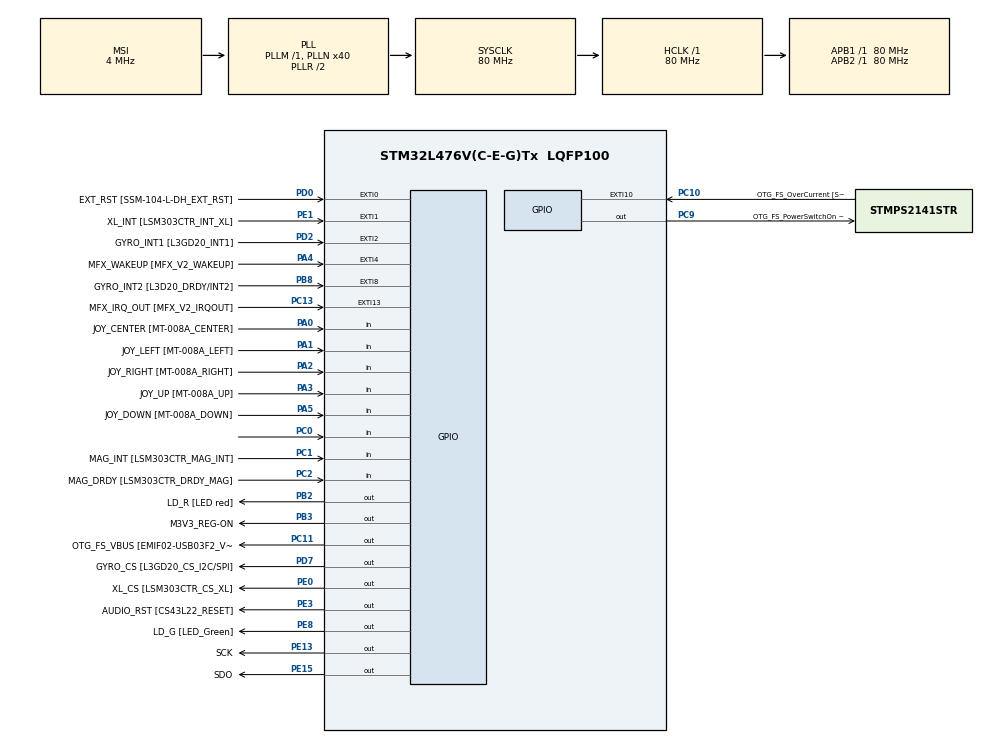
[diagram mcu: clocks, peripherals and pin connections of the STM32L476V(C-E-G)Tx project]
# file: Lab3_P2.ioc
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Mcu.Family=STM32L4
Mcu.Name=STM32L476V(C-E-G)Tx
Mcu.Package=LQFP100
NVIC.PriorityGroup=NVIC_PRIORITYGROUP_4
PA0.GPIO_Label=JOY_CENTER [MT-008A_CENTER]
PA0.GPIO_Mode=GPIO_MODE_INPUT
PA0.GPIO_PuPd=GPIO_PULLDOWN
PA0.Signal=GPIO_Input
PA1.GPIO_Label=JOY_LEFT [MT-008A_LEFT]
PA1.GPIO_Mode=GPIO_MODE_INPUT
PA1.GPIO_PuPd=GPIO_PULLDOWN
PA1.Signal=GPIO_Input
PA10.GPIO_Label=COM2 [GH08172T_COM2]
PA10.GPIO_Mode=GPIO_MODE_AF_PP
PA10.GPIO_PuPd=GPIO_NOPULL
PA10.GPIO_Speed=GPIO_SPEED_FREQ_LOW
PA10.Signal=LCD_COM2
PA11.GPIO_Label=OTG_FS_DM [EMIF02-USB03F2_D-out]
PA11.GPIO_Mode=GPIO_MODE_AF_PP
PA11.GPIO_PuPd=GPIO_NOPULL
PA11.GPIO_Speed=GPIO_SPEED_FREQ_VERY_HIGH
PA11.Signal=USB_OTG_FS_DM
PA12.GPIO_Label=OTG_FS_DP [EMIF02-USB03F2_D+out]
PA12.GPIO_Mode=GPIO_MODE_AF_PP
PA12.GPIO_PuPd=GPIO_NOPULL
PA12.GPIO_Speed=GPIO_SPEED_FREQ_VERY_HIGH
PA12.Signal=USB_OTG_FS_DP
PA13\ (JTMS-SWDIO).GPIO_Label=SWDIO
PA13\ (JTMS-SWDIO).Mode=Serial_Wire
PA13\ (JTMS-SWDIO).Signal=SYS_JTMS-SWDIO
PA14\ (JTCK-SWCLK).GPIO_Label=SWCLK
PA14\ (JTCK-SWCLK).Mode=Serial_Wire
PA14\ (JTCK-SWCLK).Signal=SYS_JTCK-SWCLK
PA15\ (JTDI).GPIO_Label=SEG10 [GH08172T_SEG10]
PA15\ (JTDI).GPIO_Mode=GPIO_MODE_AF_PP
PA15\ (JTDI).GPIO_PuPd=GPIO_NOPULL
PA15\ (JTDI).GPIO_Speed=GPIO_SPEED_FREQ_LOW
PA15\ (JTDI).Signal=LCD_SEG17
PA2.GPIO_Label=JOY_RIGHT [MT-008A_RIGHT]
PA2.GPIO_Mode=GPIO_MODE_INPUT
PA2.GPIO_PuPd=GPIO_PULLDOWN
PA2.Signal=GPIO_Input
PA3.GPIO_Label=JOY_UP [MT-008A_UP]
PA3.GPIO_Mode=GPIO_MODE_INPUT
PA3.GPIO_PuPd=GPIO_PULLDOWN
PA3.Signal=GPIO_Input
PA4.GPIO_Label=MFX_WAKEUP [MFX_V2_WAKEUP]
PA4.GPIO_ModeDefaultEXTI=GPIO_MODE_EVT_RISING
PA4.GPIO_PuPd=GPIO_NOPULL
PA4.Signal=GPXTI4
PA5.GPIO_Label=JOY_DOWN [MT-008A_DOWN]
PA5.GPIO_Mode=GPIO_MODE_INPUT
PA5.GPIO_PuPd=GPIO_PULLDOWN
PA5.Signal=GPIO_Input
PA6.GPIO_Label=SEG23 [GH08172T_SEG23]
PA6.GPIO_Mode=GPIO_MODE_AF_PP
PA6.GPIO_PuPd=GPIO_NOPULL
PA6.GPIO_Speed=GPIO_SPEED_FREQ_LOW
PA6.Signal=LCD_SEG3
PA7.GPIO_Label=SEG0 [GH08172T_SEG0]
PA7.GPIO_Mode=GPIO_MODE_AF_PP
PA7.GPIO_PuPd=GPIO_NOPULL
PA7.GPIO_Speed=GPIO_SPEED_FREQ_LOW
PA7.Signal=LCD_SEG4
PA8.GPIO_Label=COM0 [GH08172T_COM0]
PA8.GPIO_Mode=GPIO_MODE_AF_PP
PA8.GPIO_PuPd=GPIO_NOPULL
PA8.GPIO_Speed=GPIO_SPEED_FREQ_LOW
PA8.Signal=LCD_COM0
PA9.GPIO_Label=COM1 [GH08172T_COM1]
PA9.GPIO_Mode=GPIO_MODE_AF_PP
PA9.GPIO_PuPd=GPIO_NOPULL
PA9.GPIO_Speed=GPIO_SPEED_FREQ_LOW
PA9.Signal=LCD_COM1
PB0.GPIO_Label=SEG21 [GH08172T_SEG21]
PB0.GPIO_Mode=GPIO_MODE_AF_PP
PB0.GPIO_PuPd=GPIO_NOPULL
PB0.GPIO_Speed=GPIO_SPEED_FREQ_LOW
PB0.Signal=LCD_SEG5
PB1.GPIO_Label=SEG2 [GH08172T_SEG2]
PB1.GPIO_Mode=GPIO_MODE_AF_PP
PB1.GPIO_PuPd=GPIO_NOPULL
PB1.GPIO_Speed=GPIO_SPEED_FREQ_LOW
PB1.Signal=LCD_SEG6
PB10.GPIO_Label=MFX_I2C_SLC [MFX_V2_I2C_SCL]
PB10.GPIO_Mode=GPIO_MODE_AF_OD
PB10.GPIO_Pu=GPIO_PULLUP
PB10.GPIO_Speed=GPIO_SPEED_FREQ_VERY_HIGH
PB10.Signal=I2C2_SCL
PB11.GPIO_Label=MFX_I2C_SDA [MFX_V2_I2C_SDA]
PB11.GPIO_Mode=GPIO_MODE_AF_OD
PB11.GPIO_Pu=GPIO_PULLUP
PB11.GPIO_Speed=GPIO_SPEED_FREQ_VERY_HIGH
PB11.Signal=I2C2_SDA
PB12.GPIO_Label=SEG20 [GH08172T_SEG20]
PB12.GPIO_Mode=GPIO_MODE_AF_PP
PB12.GPIO_PuPd=GPIO_NOPULL
PB12.GPIO_Speed=GPIO_SPEED_FREQ_LOW
PB12.Signal=LCD_SEG12
PB13.GPIO_Label=SEG3 [GH08172T_SEG3]
PB13.GPIO_Mode=GPIO_MODE_AF_PP
PB13.GPIO_PuPd=GPIO_NOPULL
PB13.GPIO_Speed=GPIO_SPEED_FREQ_LOW
PB13.Signal=LCD_SEG13
PB14.GPIO_Label=SEG19 [GH08172T_SEG19]
PB14.GPIO_Mode=GPIO_MODE_AF_PP
PB14.GPIO_PuPd=GPIO_NOPULL
PB14.GPIO_Speed=GPIO_SPEED_FREQ_LOW
PB14.Signal=LCD_SEG14
PB15.GPIO_Label=SEG4 [GH08172T_SEG4]
PB15.GPIO_Mode=GPIO_MODE_AF_PP
PB15.GPIO_PuPd=GPIO_NOPULL
PB15.GPIO_Speed=GPIO_SPEED_FREQ_LOW
PB15.Signal=LCD_SEG15
PB2.GPIO_Label=LD_R [LED red]
PB2.GPIO_ModeDefaultOutputPP=GPIO_MODE_OUTPUT_PP
PB2.GPIO_PuPd=GPIO_PULLUP
PB2.GPIO_Speed=GPIO_SPEED_FREQ_VERY_HIGH
PB2.Signal=GPIO_Output
PB3\ (JTDO-TRACESWO).GPIO_Label=M3V3_REG-ON
PB3\ (JTDO-TRACESWO).GPIO_ModeDefaultOutputPP=GPIO_MODE_OUTPUT_PP
PB3\ (JTDO-TRACESWO).GPIO_PuPd=GPIO_NOPULL
PB3\ (JTDO-TRACESWO).GPIO_Speed=GPIO_SPEED_FREQ_LOW
PB3\ (JTDO-TRACESWO).Signal=GPIO_Output
PB4\ (NJTRST).GPIO_Label=SEG11 [GH08172T_SEG11]
PB4\ (NJTRST).GPIO_Mode=GPIO_MODE_AF_PP
PB4\ (NJTRST).GPIO_PuPd=GPIO_NOPULL
PB4\ (NJTRST).GPIO_Speed=GPIO_SPEED_FREQ_LOW
PB4\ (NJTRST).Signal=LCD_SEG8
PB5.GPIO_Label=SEG12 [GH08172T_SEG12]
PB5.GPIO_Mode=GPIO_MODE_AF_PP
PB5.GPIO_PuPd=GPIO_NOPULL
PB5.GPIO_Speed=GPIO_SPEED_FREQ_LOW
PB5.Signal=LCD_SEG9
PB6.GPIO_FM6=__NULL
PB6.GPIO_Label=I2C1_SCL [SSM-104-L-DH_SCL]
PB6.GPIO_Mode=GPIO_MODE_AF_OD
PB6.GPIO_Pu=GPIO_PULLUP
PB6.GPIO_Speed=GPIO_SPEED_FREQ_VERY_HIGH
PB6.Signal=I2C1_SCL
PB7.GPIO_FM7=__NULL
PB7.GPIO_Label=I2C1_SDA [SSM-104-L-DH_SDA]
PB7.GPIO_Mode=GPIO_MODE_AF_OD
PB7.GPIO_Pu=GPIO_PULLUP
PB7.GPIO_Speed=GPIO_SPEED_FREQ_VERY_HIGH
PB7.Signal=I2C1_SDA
PB8.GPIO_Label=GYRO_INT2 [L3D20_DRDY/INT2]
PB8.GPIO_ModeDefaultEXTI=GPIO_MODE_EVT_RISING
PB8.GPIO_PuPd=GPIO_NOPULL
PB8.Signal=GPXTI8
PB9.GPIO_FM9=__NULL
PB9.GPIO_Label=COM3 [GH08172T_COM3]
PB9.GPIO_Mode=GPIO_MODE_AF_PP
PB9.GPIO_PuPd=GPIO_NOPULL
PB9.GPIO_Speed=GPIO_SPEED_FREQ_LOW
PB9.Signal=LCD_COM3
PC0.Signal=GPIO_Input
PC1.GPIO_Label=MAG_INT [LSM303CTR_MAG_INT]
PC1.GPIO_Mode=GPIO_MODE_INPUT
PC1.GPIO_PuPd=GPIO_NOPULL
PC1.Signal=GPIO_Input
PC10.GPIO_Label=OTG_FS_OverCurrent [STMPS2141STR_FAULT]
PC10.GPIO_ModeDefaultEXTI=GPIO_MODE_EVT_RISING
PC10.GPIO_PuPd=GPIO_NOPULL
PC10.Signal=GPXTI10
PC11.GPIO_Label=OTG_FS_VBUS [EMIF02-USB03F2_Vbus]
PC11.GPIO_ModeDefaultOutputPP=GPIO_MODE_OUTPUT_PP
PC11.GPIO_PuPd=GPIO_NOPULL
PC11.GPIO_Speed=GPIO_SPEED_FREQ_LOW
PC11.Signal=GPIO_Output
PC13.GPIO_Label=MFX_IRQ_OUT [MFX_V2_IRQOUT]
PC13.GPIO_ModeDefaultEXTI=GPIO_MODE_EVT_RISING
PC13.GPIO_PuPd=GPIO_NOPULL
PC13.Signal=GPXTI13
PC14-OSC32_IN\ (PC14).Mode=LSE-External-Oscillator
PC14-OSC32_IN\ (PC14).Signal=RCC_OSC32_IN
PC15-OSC32_OUT\ (PC15).Mode=LSE-External-Oscillator
PC15-OSC32_OUT\ (PC15).Signal=RCC_OSC32_OUT
PC2.GPIO_Label=MAG_DRDY [LSM303CTR_DRDY_MAG]
PC2.GPIO_Mode=GPIO_MODE_INPUT
PC2.GPIO_PuPd=GPIO_NOPULL
PC2.Signal=GPIO_Input
PC3.GPIO_Label=VLCD
PC3.GPIO_Mode=GPIO_MODE_AF_PP
PC3.GPIO_PuPd=GPIO_NOPULL
PC3.GPIO_Speed=GPIO_SPEED_FREQ_LOW
PC3.Signal=LCD_VLCD
PC4.GPIO_Label=SEG22 [GH08172T_SEG22]
PC4.GPIO_Mode=GPIO_MODE_AF_PP
PC4.GPIO_PuPd=GPIO_NOPULL
PC4.GPIO_Speed=GPIO_SPEED_FREQ_LOW
PC4.Signal=LCD_SEG22
PC5.GPIO_Label=SEG1 [GH08172T_SEG1]
PC5.GPIO_Mode=GPIO_MODE_AF_PP
PC5.GPIO_PuPd=GPIO_NOPULL
PC5.GPIO_Speed=GPIO_SPEED_FREQ_LOW
PC5.Signal=LCD_SEG23
PC6.GPIO_Label=SEG14 [GH08172T_SEG14]
PC6.GPIO_Mode=GPIO_MODE_AF_PP
PC6.GPIO_PuPd=GPIO_NOPULL
PC6.GPIO_Speed=GPIO_SPEED_FREQ_LOW
PC6.Signal=LCD_SEG24
PC7.GPIO_Label=SEG9 [GH08172T_SEG9]
PC7.GPIO_Mode=GPIO_MODE_AF_PP
PC7.GPIO_PuPd=GPIO_NOPULL
PC7.GPIO_Speed=GPIO_SPEED_FREQ_LOW
PC7.Signal=LCD_SEG25
PC8.GPIO_Label=SEG13 [GH08172T_SEG13]
PC8.GPIO_Mode=GPIO_MODE_AF_PP
PC8.GPIO_PuPd=GPIO_NOPULL
PC8.GPIO_Speed=GPIO_SPEED_FREQ_LOW
PC8.Signal=LCD_SEG26
PC9.GPIO_Label=OTG_FS_PowerSwitchOn [STMPS2141STR_EN]
PC9.GPIO_ModeDefaultOutputPP=GPIO_MODE_OUTPUT_PP
PC9.GPIO_PuPd=GPIO_NOPULL
PC9.GPIO_Speed=GPIO_SPEED_FREQ_LOW
PC9.PinState=GPIO_PIN_SET
PC9.Signal=GPIO_Output
PD0.GPIO_Label=EXT_RST [SSM-104-L-DH_EXT_RST]
PD0.GPIO_ModeDefaultEXTI=GPIO_MODE_EVT_RISING
PD0.GPIO_PuPd=GPIO_NOPULL
PD0.Signal=GPXTI0
PD1.GPIO_Label=MEMS_SCK [L3GD20_SCL/SPC]
PD1.GPIO_Mode=GPIO_MODE_AF_PP
PD1.GPIO_PuPd=GPIO_NOPULL
PD1.GPIO_Speed=GPIO_SPEED_FREQ_VERY_HIGH
PD1.Signal=SPI2_SCK
PD10.GPIO_Label=SEG17 [GH08172T_SEG17]
PD10.GPIO_Mode=GPIO_MODE_AF_PP
PD10.GPIO_PuPd=GPIO_NOPULL
PD10.GPIO_Speed=GPIO_SPEED_FREQ_LOW
PD10.Signal=LCD_SEG30
PD11.GPIO_Label=SEG6 [GH08172T_SEG6]
PD11.GPIO_Mode=GPIO_MODE_AF_PP
PD11.GPIO_PuPd=GPIO_NOPULL
PD11.GPIO_Speed=GPIO_SPEED_FREQ_LOW
PD11.Signal=LCD_SEG31
PD12.GPIO_Label=SEG16 [GH08172T_SEG16]
PD12.GPIO_Mode=GPIO_MODE_AF_PP
PD12.GPIO_PuPd=GPIO_NOPULL
PD12.GPIO_Speed=GPIO_SPEED_FREQ_LOW
PD12.Signal=LCD_SEG32
PD13.GPIO_Label=SEG7 [GH08172T_SEG7]
PD13.GPIO_Mode=GPIO_MODE_AF_PP
PD13.GPIO_PuPd=GPIO_NOPULL
PD13.GPIO_Speed=GPIO_SPEED_FREQ_LOW
PD13.Signal=LCD_SEG33
PD14.GPIO_Label=SEG15 [GH08172T_SEG15]
PD14.GPIO_Mode=GPIO_MODE_AF_PP
PD14.GPIO_PuPd=GPIO_NOPULL
PD14.GPIO_Speed=GPIO_SPEED_FREQ_LOW
PD14.Signal=LCD_SEG34
PD15.GPIO_Label=SEG8 [GH08172T_SEG8]
PD15.GPIO_Mode=GPIO_MODE_AF_PP
PD15.GPIO_PuPd=GPIO_NOPULL
PD15.GPIO_Speed=GPIO_SPEED_FREQ_LOW
PD15.Signal=LCD_SEG35
PD2.GPIO_Label=GYRO_INT1 [L3GD20_INT1]
PD2.GPIO_ModeDefaultEXTI=GPIO_MODE_EVT_RISING
PD2.GPIO_PuPd=GPIO_NOPULL
PD2.Signal=GPXTI2
PD3.GPIO_Label=MEMS_MISO [L3GD20_SA0/SDO]
PD3.GPIO_Mode=GPIO_MODE_AF_PP
PD3.GPIO_PuPd=GPIO_NOPULL
PD3.GPIO_Speed=GPIO_SPEED_FREQ_VERY_HIGH
PD3.Signal=SPI2_MISO
PD4.GPIO_Label=MEMS_MOSI [L3GD20_SDA/SDI/SDO]
PD4.GPIO_Mode=GPIO_MODE_AF_PP
PD4.GPIO_PuPd=GPIO_NOPULL
PD4.GPIO_Speed=GPIO_SPEED_FREQ_VERY_HIGH
PD4.Signal=SPI2_MOSI
PD5.GPIO_Label=USART_TX
PD5.GPIO_Mode=GPIO_MODE_AF_PP
PD5.GPIO_PuPd=GPIO_PULLUP
PD5.GPIO_Speed=GPIO_SPEED_FREQ_VERY_HIGH
PD5.Signal=USART2_TX
PD6.GPIO_Label=USART_RX
PD6.GPIO_Mode=GPIO_MODE_AF_PP
PD6.GPIO_PuPd=GPIO_PULLUP
PD6.GPIO_Speed=GPIO_SPEED_FREQ_VERY_HIGH
PD6.Signal=USART2_RX
PD7.GPIO_Label=GYRO_CS [L3GD20_CS_I2C/SPI]
PD7.GPIO_ModeDefaultOutputPP=GPIO_MODE_OUTPUT_PP
PD7.GPIO_PuPd=GPIO_NOPULL
PD7.GPIO_Speed=GPIO_SPEED_FREQ_VERY_HIGH
PD7.Signal=GPIO_Output
PD8.GPIO_Label=SEG18 [GH08172T_SEG18]
PD8.GPIO_Mode=GPIO_MODE_AF_PP
PD8.GPIO_PuPd=GPIO_NOPULL
PD8.GPIO_Speed=GPIO_SPEED_FREQ_LOW
PD8.Signal=LCD_SEG28
PD9.GPIO_Label=SEG5 [GH08172T_SEG5]
PD9.GPIO_Mode=GPIO_MODE_AF_PP
PD9.GPIO_PuPd=GPIO_NOPULL
PD9.GPIO_Speed=GPIO_SPEED_FREQ_LOW
PD9.Signal=LCD_SEG29
PE0.GPIO_Label=XL_CS [LSM303CTR_CS_XL]
PE0.GPIO_ModeDefaultOutputPP=GPIO_MODE_OUTPUT_PP
PE0.GPIO_PuPd=GPIO_NOPULL
PE0.GPIO_Speed=GPIO_SPEED_FREQ_LOW
PE0.Signal=GPIO_Output
PE1.GPIO_Label=XL_INT [LSM303CTR_INT_XL]
PE1.GPIO_ModeDefaultEXTI=GPIO_MODE_EVT_RISING
PE1.GPIO_PuPd=GPIO_NOPULL
PE1.Signal=GPXTI1
PE10.GPIO_Label=QSPI_CLK [N25Q128A13EF840E_C]
PE10.GPIO_Mode=GPIO_MODE_AF_PP
PE10.GPIO_PuPd=GPIO_NOPULL
PE10.GPIO_Speed=GPIO_SPEED_FREQ_VERY_HIGH
PE10.Signal=QUADSPI_CLK
PE11.GPIO_Label=QSPI_CS [N25Q128A13EF840E_S\#]
PE11.GPIO_Mode=GPIO_MODE_AF_PP
PE11.GPIO_PuPd=GPIO_NOPULL
PE11.GPIO_Speed=GPIO_SPEED_FREQ_VERY_HIGH
PE11.Signal=QUADSPI_NCS
PE12.GPIO_Label=QSPI_D0 [N25Q128A13EF840E_DQ0]
PE12.GPIO_Mode=GPIO_MODE_AF_PP
PE12.GPIO_PuPd=GPIO_NOPULL
PE12.GPIO_Speed=GPIO_SPEED_FREQ_VERY_HIGH
PE12.Signal=QUADSPI_BK1_IO0
PE13.GPIO_Label=SCK
PE13.GPIO_Speed=GPIO_SPEED_FREQ_MEDIUM
PE13.Signal=GPIO_Output
PE14.GPIO_Label=QSPI_D2 [N25Q128A13EF840E_DQ2]
PE14.GPIO_Mode=GPIO_MODE_AF_PP
PE14.GPIO_PuPd=GPIO_NOPULL
PE14.GPIO_Speed=GPIO_SPEED_FREQ_VERY_HIGH
PE14.Signal=QUADSPI_BK1_IO2
PE15.GPIO_Label=SDO
PE15.GPIO_Speed=GPIO_SPEED_FREQ_MEDIUM
PE15.Signal=GPIO_Output
PE2.GPIO_Label=SAI1_MCK [CS43L22_MCLK]
PE2.GPIO_Mode=GPIO_MODE_AF_PP
PE2.GPIO_PuPd=GPIO_NOPULL
PE2.GPIO_Speed=GPIO_SPEED_FREQ_VERY_HIGH
PE2.Signal=SAI1_MCLK_A
PE3.GPIO_Label=AUDIO_RST [CS43L22_RESET]
PE3.GPIO_ModeDefaultOutputPP=GPIO_MODE_OUTPUT_PP
PE3.GPIO_PuPd=GPIO_NOPULL
PE3.GPIO_Speed=GPIO_SPEED_FREQ_HIGH
PE3.Signal=GPIO_Output
PE4.GPIO_Label=SAI1_FS [CS43L22_LRCK]
PE4.GPIO_Mode=GPIO_MODE_AF_PP
PE4.GPIO_PuPd=GPIO_NOPULL
PE4.GPIO_Speed=GPIO_SPEED_FREQ_VERY_HIGH
PE4.Signal=SAI1_FS_A
PE5.GPIO_Label=SAI1_SCK [CS43L22_SCLK]
PE5.GPIO_Mode=GPIO_MODE_AF_PP
PE5.GPIO_PuPd=GPIO_NOPULL
PE5.GPIO_Speed=GPIO_SPEED_FREQ_VERY_HIGH
PE5.Signal=SAI1_SCK_A
PE6.GPIO_Label=SAI1_SD [CS43L22_SDIN]
PE6.GPIO_Mode=GPIO_MODE_AF_PP
PE6.GPIO_PuPd=GPIO_NOPULL
PE6.GPIO_Speed=GPIO_SPEED_FREQ_VERY_HIGH
PE6.Signal=SAI1_SD_A
PE7.GPIO_Label=AUDIO_DIN [MP34DT01_DOUT]
PE7.GPIO_Mode=GPIO_MODE_AF_PP
PE7.GPIO_PuPd=GPIO_NOPULL
PE7.GPIO_Speed=GPIO_SPEED_FREQ_VERY_HIGH
PE7.Signal=SAI1_SD_B
PE8.GPIO_Label=LD_G [LED_Green]
PE8.GPIO_ModeDefaultOutputPP=GPIO_MODE_OUTPUT_PP
PE8.GPIO_PuPd=GPIO_PULLUP
PE8.GPIO_Speed=GPIO_SPEED_FREQ_VERY_HIGH
PE8.Signal=GPIO_Output
PE9.GPIO_Label=AUDIO_CLK [MP34DT01_CLK]
PE9.GPIO_Mode=GPIO_MODE_AF_PP
PE9.GPIO_PuPd=GPIO_NOPULL
PE9.GPIO_Speed=GPIO_SPEED_FREQ_LOW
PE9.Signal=SAI1_FS_B
PH0-OSC_IN\ (PH0).Mode=HSE-External-Oscillator
PH0-OSC_IN\ (PH0).Signal=RCC_OSC_IN
PH1-OSC_OUT\ (PH1).Mode=HSE-External-Oscillator
PH1-OSC_OUT\ (PH1).Signal=RCC_OSC_OUT
ProjectManager.HeapSize=0x200
ProjectManager.StackSize=0x400
ProjectManager.TargetToolchain=MDK-ARM V5.32
RCC.ADCFreq_Value=48000000
RCC.AHBFreq_Value=80000000
RCC.APB1Freq_Value=80000000
RCC.APB1TimFreq_Value=80000000
RCC.APB2Freq_Value=80000000
RCC.APB2TimFreq_Value=80000000
RCC.CortexFreq_Value=80000000
RCC.HCLKFreq_Value=80000000
RCC.HSE_VALUE=8000000
RCC.HSI_VALUE=16000000
RCC.MSI_VALUE=4000000
RCC.PLLN=40
RCC.PLLSAI1N=24
RCC.PREFETCH_ENABLE=1
RCC.SYSCLKFreq_VALUE=80000000
RCC.SYSCLKSource=RCC_SYSCLKSOURCE_PLLCLK
RCC.USBFreq_Value=48000000
RCC.VCOOutputFreq_Value=160000000
board=STM32L476G-DISCO

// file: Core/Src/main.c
/* USER CODE BEGIN Header */
/**
  ******************************************************************************
  * @file           : main.c
  * @brief          : Main program body
  ******************************************************************************
  * @attention
  *
  * Copyright (c) 2023 STMicroelectronics.
  * All rights reserved.
  *
  * This software is licensed under terms that can be found in the LICENSE file
  * in the root directory of this software component.
  * If no LICENSE file comes with this software, it is provided AS-IS.
  *
  ******************************************************************************
  */
/* USER CODE END Header */
#include "main.h"

void SystemClock_Config(void);
static void MX_GPIO_Init(void);

/* USER CODE BEGIN 0 */

void spi32(uint32_t c) {
		int i;
		for(i = 0; i < 32; i++)
		{
				if((c & 0x80000000) == 0x80000000)
				{
						HAL_GPIO_WritePin(GPIOE, SDO_Pin, GPIO_PIN_SET);
			  }
				else
				{
						HAL_GPIO_WritePin(GPIOE, SDO_Pin, GPIO_PIN_RESET);
				}
				HAL_GPIO_WritePin(GPIOE, SCK_Pin, GPIO_PIN_SET);
				HAL_GPIO_WritePin(GPIOE, SCK_Pin, GPIO_PIN_RESET);
				c =  c << 1;
		}
}

void send_array(uint32_t arr[60])
{
	  uint32_t a = 0x00000000;
	  int i;

	  spi32(a);

		for(i = 0; i < 60; i++)
		{
			a = arr[i];
			spi32(a);
	  }

		a = 0xFFFFFFFF;
		spi32(a);
}

/* USER CODE END 0 */

int main(void)
{

  /* MCU Configuration--------------------------------------------------------*/

  /* Reset of all peripherals, Initializes the Flash interface and the Systick. */
  HAL_Init();

  /* Configure the system clock */
  SystemClock_Config();

  /* Initialize all configured peripherals */
  MX_GPIO_Init();
  /* USER CODE BEGIN 2 */
	uint32_t a = 0xEFFF0000; //blue
	uint32_t b = 0xE0000000;
	uint32_t arr[60];
	int i;
	int j = 30;

  /* USER CODE END 2 */

  /* Infinite loop */
  /* USER CODE BEGIN WHILE */
  while (1)
  {

		for(i = 0; i<60; i++){
			if(i == j){
				arr[i] = a;
			}else{
				arr[i] = b;
			}
		}

		send_array(arr);
		j++;
		j = j%60;
		HAL_Delay(250);
    /* USER CODE END WHILE */

  }
}

void SystemClock_Config(void)
{
  RCC_OscInitTypeDef RCC_OscInitStruct = {0};
  RCC_ClkInitTypeDef RCC_ClkInitStruct = {0};

  /** Configure the main internal regulator output voltage
  */
  if (HAL_PWREx_ControlVoltageScaling(PWR_REGULATOR_VOLTAGE_SCALE1) != HAL_OK)
  {
    Error_Handler();
  }

  /** Configure LSE Drive Capability
  */
  HAL_PWR_EnableBkUpAccess();
  __HAL_RCC_LSEDRIVE_CONFIG(RCC_LSEDRIVE_LOW);

  /** Initializes the RCC Oscillators according to the specified parameters
  * in the RCC_OscInitTypeDef structure.
  */
  RCC_OscInitStruct.OscillatorType = RCC_OSCILLATORTYPE_LSE|RCC_OSCILLATORTYPE_MSI;
  RCC_OscInitStruct.LSEState = RCC_LSE_ON;
  RCC_OscInitStruct.MSIState = RCC_MSI_ON;
  RCC_OscInitStruct.MSICalibrationValue = 0;
  RCC_OscInitStruct.MSIClockRange = RCC_MSIRANGE_6;
  RCC_OscInitStruct.PLL.PLLState = RCC_PLL_ON;
  RCC_OscInitStruct.PLL.PLLSource = RCC_PLLSOURCE_MSI;
  RCC_OscInitStruct.PLL.PLLM = 1;
  RCC_OscInitStruct.PLL.PLLN = 40;
  RCC_OscInitStruct.PLL.PLLP = RCC_PLLP_DIV7;
  RCC_OscInitStruct.PLL.PLLQ = RCC_PLLQ_DIV2;
  RCC_OscInitStruct.PLL.PLLR = RCC_PLLR_DIV2;
  if (HAL_RCC_OscConfig(&RCC_OscInitStruct) != HAL_OK)
  {
    Error_Handler();
  }

  /** Initializes the CPU, AHB and APB buses clocks
  */
  RCC_ClkInitStruct.ClockType = RCC_CLOCKTYPE_HCLK|RCC_CLOCKTYPE_SYSCLK
                              |RCC_CLOCKTYPE_PCLK1|RCC_CLOCKTYPE_PCLK2;
  RCC_ClkInitStruct.SYSCLKSource = RCC_SYSCLKSOURCE_PLLCLK;
  RCC_ClkInitStruct.AHBCLKDivider = RCC_SYSCLK_DIV1;
  RCC_ClkInitStruct.APB1CLKDivider = RCC_HCLK_DIV1;
  RCC_ClkInitStruct.APB2CLKDivider = RCC_HCLK_DIV1;

  if (HAL_RCC_ClockConfig(&RCC_ClkInitStruct, FLASH_LATENCY_4) != HAL_OK)
  {
    Error_Handler();
  }

  /** Enable MSI Auto calibration
  */
  HAL_RCCEx_EnableMSIPLLMode();
}

static void MX_GPIO_Init(void)
{
  GPIO_InitTypeDef GPIO_InitStruct = {0};

  /* GPIO Ports Clock Enable */
  __HAL_RCC_GPIOE_CLK_ENABLE();
  __HAL_RCC_GPIOC_CLK_ENABLE();
  __HAL_RCC_GPIOH_CLK_ENABLE();
  __HAL_RCC_GPIOA_CLK_ENABLE();
  __HAL_RCC_GPIOB_CLK_ENABLE();
  __HAL_RCC_GPIOD_CLK_ENABLE();

  /*Configure GPIO pin Output Level */
  HAL_GPIO_WritePin(GPIOE, AUDIO_RST_Pin|LD_G_Pin|SCK_Pin|SDO_Pin
                          |XL_CS_Pin, GPIO_PIN_RESET);

  /*Configure GPIO pin Output Level */
  HAL_GPIO_WritePin(GPIOB, LD_R_Pin|M3V3_REG_ON_Pin, GPIO_PIN_RESET);

  /*Configure GPIO pin Output Level */
  HAL_GPIO_WritePin(OTG_FS_PowerSwitchOn_GPIO_Port, OTG_FS_PowerSwitchOn_Pin, GPIO_PIN_SET);

  /*Configure GPIO pin Output Level */
  HAL_GPIO_WritePin(OTG_FS_VBUS_GPIO_Port, OTG_FS_VBUS_Pin, GPIO_PIN_RESET);

  /*Configure GPIO pin Output Level */
  HAL_GPIO_WritePin(GYRO_CS_GPIO_Port, GYRO_CS_Pin, GPIO_PIN_RESET);

  /*Configure GPIO pins : SAI1_MCK_Pin SAI1_FS_Pin SAI1_SCK_Pin SAI1_SD_Pin
                           AUDIO_DIN_Pin */
  GPIO_InitStruct.Pin = SAI1_MCK_Pin|SAI1_FS_Pin|SAI1_SCK_Pin|SAI1_SD_Pin
                          |AUDIO_DIN_Pin;
  GPIO_InitStruct.Mode = GPIO_MODE_AF_PP;
  GPIO_InitStruct.Pull = GPIO_NOPULL;
  GPIO_InitStruct.Speed = GPIO_SPEED_FREQ_VERY_HIGH;
  GPIO_InitStruct.Alternate = GPIO_AF13_SAI1;
  HAL_GPIO_Init(GPIOE, &GPIO_InitStruct);

  /*Configure GPIO pin : AUDIO_RST_Pin */
  GPIO_InitStruct.Pin = AUDIO_RST_Pin;
  GPIO_InitStruct.Mode = GPIO_MODE_OUTPUT_PP;
  GPIO_InitStruct.Pull = GPIO_NOPULL;
  GPIO_InitStruct.Speed = GPIO_SPEED_FREQ_HIGH;
  HAL_GPIO_Init(AUDIO_RST_GPIO_Port, &GPIO_InitStruct);

  /*Configure GPIO pins : MFX_IRQ_OUT_Pin OTG_FS_OverCurrent_Pin */
  GPIO_InitStruct.Pin = MFX_IRQ_OUT_Pin|OTG_FS_OverCurrent_Pin;
  GPIO_InitStruct.Mode = GPIO_MODE_EVT_RISING;
  GPIO_InitStruct.Pull = GPIO_NOPULL;
  HAL_GPIO_Init(GPIOC, &GPIO_InitStruct);

  /*Configure GPIO pins : PC0 MAG_INT_Pin MAG_DRDY_Pin */
  GPIO_InitStruct.Pin = GPIO_PIN_0|MAG_INT_Pin|MAG_DRDY_Pin;
  GPIO_InitStruct.Mode = GPIO_MODE_INPUT;
  GPIO_InitStruct.Pull = GPIO_NOPULL;
  HAL_GPIO_Init(GPIOC, &GPIO_InitStruct);

  /*Configure GPIO pins : VLCD_Pin SEG22_Pin SEG1_Pin SEG14_Pin
                           SEG9_Pin SEG13_Pin */
  GPIO_InitStruct.Pin = VLCD_Pin|SEG22_Pin|SEG1_Pin|SEG14_Pin
                          |SEG9_Pin|SEG13_Pin;
  GPIO_InitStruct.Mode = GPIO_MODE_AF_PP;
  GPIO_InitStruct.Pull = GPIO_NOPULL;
  GPIO_InitStruct.Speed = GPIO_SPEED_FREQ_LOW;
  GPIO_InitStruct.Alternate = GPIO_AF11_LCD;
  HAL_GPIO_Init(GPIOC, &GPIO_InitStruct);

  /*Configure GPIO pins : JOY_CENTER_Pin JOY_LEFT_Pin JOY_RIGHT_Pin JOY_UP_Pin
                           JOY_DOWN_Pin */
  GPIO_InitStruct.Pin = JOY_CENTER_Pin|JOY_LEFT_Pin|JOY_RIGHT_Pin|JOY_UP_Pin
                          |JOY_DOWN_Pin;
  GPIO_InitStruct.Mode = GPIO_MODE_INPUT;
  GPIO_InitStruct.Pull = GPIO_PULLDOWN;
  HAL_GPIO_Init(GPIOA, &GPIO_InitStruct);

  /*Configure GPIO pin : MFX_WAKEUP_Pin */
  GPIO_InitStruct.Pin = MFX_WAKEUP_Pin;
  GPIO_InitStruct.Mode = GPIO_MODE_EVT_RISING;
  GPIO_InitStruct.Pull = GPIO_NOPULL;
  HAL_GPIO_Init(MFX_WAKEUP_GPIO_Port, &GPIO_InitStruct);

  /*Configure GPIO pins : SEG23_Pin SEG0_Pin COM0_Pin COM1_Pin
                           COM2_Pin SEG10_Pin */
  GPIO_InitStruct.Pin = SEG23_Pin|SEG0_Pin|COM0_Pin|COM1_Pin
                          |COM2_Pin|SEG10_Pin;
  GPIO_InitStruct.Mode = GPIO_MODE_AF_PP;
  GPIO_InitStruct.Pull = GPIO_NOPULL;
  GPIO_InitStruct.Speed = GPIO_SPEED_FREQ_LOW;
  GPIO_InitStruct.Alternate = GPIO_AF11_LCD;
  HAL_GPIO_Init(GPIOA, &GPIO_InitStruct);

  /*Configure GPIO pins : SEG21_Pin SEG2_Pin SEG20_Pin SEG3_Pin
                           SEG19_Pin SEG4_Pin SEG11_Pin SEG12_Pin
                           COM3_Pin */
  GPIO_InitStruct.Pin = SEG21_Pin|SEG2_Pin|SEG20_Pin|SEG3_Pin
                          |SEG19_Pin|SEG4_Pin|SEG11_Pin|SEG12_Pin
                          |COM3_Pin;
  GPIO_InitStruct.Mode = GPIO_MODE_AF_PP;
  GPIO_InitStruct.Pull = GPIO_NOPULL;
  GPIO_InitStruct.Speed = GPIO_SPEED_FREQ_LOW;
  GPIO_InitStruct.Alternate = GPIO_AF11_LCD;
  HAL_GPIO_Init(GPIOB, &GPIO_InitStruct);

  /*Configure GPIO pin : LD_R_Pin */
  GPIO_InitStruct.Pin = LD_R_Pin;
  GPIO_InitStruct.Mode = GPIO_MODE_OUTPUT_PP;
  GPIO_InitStruct.Pull = GPIO_PULLUP;
  GPIO_InitStruct.Speed = GPIO_SPEED_FREQ_VERY_HIGH;
  HAL_GPIO_Init(LD_R_GPIO_Port, &GPIO_InitStruct);

  /*Configure GPIO pin : LD_G_Pin */
  GPIO_InitStruct.Pin = LD_G_Pin;
  GPIO_InitStruct.Mode = GPIO_MODE_OUTPUT_PP;
  GPIO_InitStruct.Pull = GPIO_PULLUP;
  GPIO_InitStruct.Speed = GPIO_SPEED_FREQ_VERY_HIGH;
  HAL_GPIO_Init(LD_G_GPIO_Port, &GPIO_InitStruct);

  /*Configure GPIO pin : AUDIO_CLK_Pin */
  GPIO_InitStruct.Pin = AUDIO_CLK_Pin;
  GPIO_InitStruct.Mode = GPIO_MODE_AF_PP;
  GPIO_InitStruct.Pull = GPIO_NOPULL;
  GPIO_InitStruct.Speed = GPIO_SPEED_FREQ_LOW;
  GPIO_InitStruct.Alternate = GPIO_AF13_SAI1;
  HAL_GPIO_Init(AUDIO_CLK_GPIO_Port, &GPIO_InitStruct);

  /*Configure GPIO pins : QSPI_CLK_Pin QSPI_CS_Pin QSPI_D0_Pin QSPI_D2_Pin */
  GPIO_InitStruct.Pin = QSPI_CLK_Pin|QSPI_CS_Pin|QSPI_D0_Pin|QSPI_D2_Pin;
  GPIO_InitStruct.Mode = GPIO_MODE_AF_PP;
  GPIO_InitStruct.Pull = GPIO_NOPULL;
  GPIO_InitStruct.Speed = GPIO_SPEED_FREQ_VERY_HIGH;
  GPIO_InitStruct.Alternate = GPIO_AF10_QUADSPI;
  HAL_GPIO_Init(GPIOE, &GPIO_InitStruct);

  /*Configure GPIO pins : SCK_Pin SDO_Pin */
  GPIO_InitStruct.Pin = SCK_Pin|SDO_Pin;
  GPIO_InitStruct.Mode = GPIO_MODE_OUTPUT_PP;
  GPIO_InitStruct.Pull = GPIO_NOPULL;
  GPIO_InitStruct.Speed = GPIO_SPEED_FREQ_MEDIUM;
  HAL_GPIO_Init(GPIOE, &GPIO_InitStruct);

  /*Configure GPIO pins : MFX_I2C_SLC_Pin MFX_I2C_SDA_Pin */
  GPIO_InitStruct.Pin = MFX_I2C_SLC_Pin|MFX_I2C_SDA_Pin;
  GPIO_InitStruct.Mode = GPIO_MODE_AF_OD;
  GPIO_InitStruct.Pull = GPIO_PULLUP;
  GPIO_InitStruct.Speed = GPIO_SPEED_FREQ_VERY_HIGH;
  GPIO_InitStruct.Alternate = GPIO_AF4_I2C2;
  HAL_GPIO_Init(GPIOB, &GPIO_InitStruct);

  /*Configure GPIO pins : SEG18_Pin SEG5_Pin SEG17_Pin SEG6_Pin
                           SEG16_Pin SEG7_Pin SEG15_Pin SEG8_Pin */
  GPIO_InitStruct.Pin = SEG18_Pin|SEG5_Pin|SEG17_Pin|SEG6_Pin
                          |SEG16_Pin|SEG7_Pin|SEG15_Pin|SEG8_Pin;
  GPIO_InitStruct.Mode = GPIO_MODE_AF_PP;
  GPIO_InitStruct.Pull = GPIO_NOPULL;
  GPIO_InitStruct.Speed = GPIO_SPEED_FREQ_LOW;
  GPIO_InitStruct.Alternate = GPIO_AF11_LCD;
  HAL_GPIO_Init(GPIOD, &GPIO_InitStruct);

  /*Configure GPIO pins : OTG_FS_PowerSwitchOn_Pin OTG_FS_VBUS_Pin */
  GPIO_InitStruct.Pin = OTG_FS_PowerSwitchOn_Pin|OTG_FS_VBUS_Pin;
  GPIO_InitStruct.Mode = GPIO_MODE_OUTPUT_PP;
  GPIO_InitStruct.Pull = GPIO_NOPULL;
  GPIO_InitStruct.Speed = GPIO_SPEED_FREQ_LOW;
  HAL_GPIO_Init(GPIOC, &GPIO_InitStruct);

  /*Configure GPIO pins : OTG_FS_DM_Pin OTG_FS_DP_Pin */
  GPIO_InitStruct.Pin = OTG_FS_DM_Pin|OTG_FS_DP_Pin;
  GPIO_InitStruct.Mode = GPIO_MODE_AF_PP;
  GPIO_InitStruct.Pull = GPIO_NOPULL;
  GPIO_InitStruct.Speed = GPIO_SPEED_FREQ_VERY_HIGH;
  GPIO_InitStruct.Alternate = GPIO_AF10_OTG_FS;
  HAL_GPIO_Init(GPIOA, &GPIO_InitStruct);

  /*Configure GPIO pins : EXT_RST_Pin GYRO_INT1_Pin */
  GPIO_InitStruct.Pin = EXT_RST_Pin|GYRO_INT1_Pin;
  GPIO_InitStruct.Mode = GPIO_MODE_EVT_RISING;
  GPIO_InitStruct.Pull = GPIO_NOPULL;
  HAL_GPIO_Init(GPIOD, &GPIO_InitStruct);

  /*Configure GPIO pins : MEMS_SCK_Pin MEMS_MISO_Pin MEMS_MOSI_Pin */
  GPIO_InitStruct.Pin = MEMS_SCK_Pin|MEMS_MISO_Pin|MEMS_MOSI_Pin;
  GPIO_InitStruct.Mode = GPIO_MODE_AF_PP;
  GPIO_InitStruct.Pull = GPIO_NOPULL;
  GPIO_InitStruct.Speed = GPIO_SPEED_FREQ_VERY_HIGH;
  GPIO_InitStruct.Alternate = GPIO_AF5_SPI2;
  HAL_GPIO_Init(GPIOD, &GPIO_InitStruct);

  /*Configure GPIO pins : USART_TX_Pin USART_RX_Pin */
  GPIO_InitStruct.Pin = USART_TX_Pin|USART_RX_Pin;
  GPIO_InitStruct.Mode = GPIO_MODE_AF_PP;
  GPIO_InitStruct.Pull = GPIO_PULLUP;
  GPIO_InitStruct.Speed = GPIO_SPEED_FREQ_VERY_HIGH;
  GPIO_InitStruct.Alternate = GPIO_AF7_USART2;
  HAL_GPIO_Init(GPIOD, &GPIO_InitStruct);

  /*Configure GPIO pin : GYRO_CS_Pin */
  GPIO_InitStruct.Pin = GYRO_CS_Pin;
  GPIO_InitStruct.Mode = GPIO_MODE_OUTPUT_PP;
  GPIO_InitStruct.Pull = GPIO_NOPULL;
  GPIO_InitStruct.Speed = GPIO_SPEED_FREQ_VERY_HIGH;
  HAL_GPIO_Init(GYRO_CS_GPIO_Port, &GPIO_InitStruct);

  /*Configure GPIO pin : M3V3_REG_ON_Pin */
  GPIO_InitStruct.Pin = M3V3_REG_ON_Pin;
  GPIO_InitStruct.Mode = GPIO_MODE_OUTPUT_PP;
  GPIO_InitStruct.Pull = GPIO_NOPULL;
  GPIO_InitStruct.Speed = GPIO_SPEED_FREQ_LOW;
  HAL_GPIO_Init(M3V3_REG_ON_GPIO_Port, &GPIO_InitStruct);

  /*Configure GPIO pins : I2C1_SCL_Pin I2C1_SDA_Pin */
  GPIO_InitStruct.Pin = I2C1_SCL_Pin|I2C1_SDA_Pin;
  GPIO_InitStruct.Mode = GPIO_MODE_AF_OD;
  GPIO_InitStruct.Pull = GPIO_PULLUP;
  GPIO_InitStruct.Speed = GPIO_SPEED_FREQ_VERY_HIGH;
  GPIO_InitStruct.Alternate = GPIO_AF4_I2C1;
  HAL_GPIO_Init(GPIOB, &GPIO_InitStruct);

  /*Configure GPIO pin : GYRO_INT2_Pin */
  GPIO_InitStruct.Pin = GYRO_INT2_Pin;
  GPIO_InitStruct.Mode = GPIO_MODE_EVT_RISING;
  GPIO_InitStruct.Pull = GPIO_NOPULL;
  HAL_GPIO_Init(GYRO_INT2_GPIO_Port, &GPIO_InitStruct);

  /*Configure GPIO pin : XL_CS_Pin */
  GPIO_InitStruct.Pin = XL_CS_Pin;
  GPIO_InitStruct.Mode = GPIO_MODE_OUTPUT_PP;
  GPIO_InitStruct.Pull = GPIO_NOPULL;
  GPIO_InitStruct.Speed = GPIO_SPEED_FREQ_LOW;
  HAL_GPIO_Init(XL_CS_GPIO_Port, &GPIO_InitStruct);

  /*Configure GPIO pin : XL_INT_Pin */
  GPIO_InitStruct.Pin = XL_INT_Pin;
  GPIO_InitStruct.Mode = GPIO_MODE_EVT_RISING;
  GPIO_InitStruct.Pull = GPIO_NOPULL;
  HAL_GPIO_Init(XL_INT_GPIO_Port, &GPIO_InitStruct);

}

void Error_Handler(void)
{
  __disable_irq();
  while (1)
  {
  }
}
